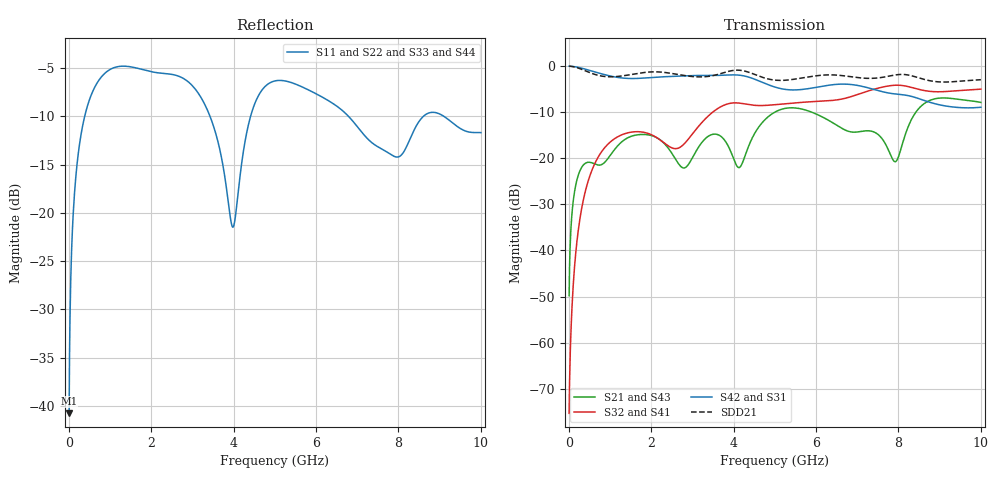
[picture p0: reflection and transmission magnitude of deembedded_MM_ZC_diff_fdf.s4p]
# GHz S MA R 50
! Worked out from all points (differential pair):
!   1000 points, 10 MHz to 10 GHz, reference 50 ohm
!   strongest paths, dB at 10 MHz, 2.51 GHz, 5.01 GHz, 7.51 GHz, 10 GHz:
!     S42: 0.0, -2.2, -4.6, -5.3, -8.9
!     S31: 0.0, -2.2, -4.6, -5.3, -8.9
!     S32: -75.3, -17.8, -8.4, -4.8, -5.0
!     S41: -75.3, -17.8, -8.4, -4.8, -5.0
!     S21: -49.8, -19.0, -9.9, -14.9, -7.9
!     S43: -49.8, -19.0, -9.9, -14.9, -7.9
!   taken as a pair (ports 2,1 in; 4,3 out), SDD21 dB: 0.0, -1.6, -3.0, -2.6, -2.9
!   lowest |S11| = -40.8 dB at 10 MHz (marker M1), VSWR 1.02, Z = 50 - j0.914 ohm
!   |S11| at or under -10 dB: 3.429 GHz to 4.412 GHz (983.8 MHz wide, 25.1 % of centre); 6.789 GHz to 8.604 GHz (1.816 GHz wide, 23.6 % of centre); 9.103 GHz to end of sweep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
0.01  0.009161 -92.6  0.003228 87.2  0.9995 -1.5  0.000171 60.5
      0.003228 87.2  0.009161 -92.6  0.000171 60.5  0.9995 -1.5
      0.9995 -1.5  0.000171 60.5  0.009161 -92.6  0.003228 87.2
      0.000171 60.5  0.9995 -1.5  0.003228 87.2  0.009161 -92.6
0.31  0.2627 -137.4  0.07919 44.5  0.9518 -47.1  0.02785 -67.5
      0.07919 44.5  0.2627 -137.4  0.02785 -67.5  0.9518 -47.1
      0.9518 -47.1  0.02785 -67.5  0.2627 -137.4  0.07919 44.5
      0.02785 -67.5  0.9518 -47.1  0.07919 44.5  0.2627 -137.4
1.09  0.5643 118.1  0.1208 30.1  0.7683 -151.9  0.1606 124.4
      0.1208 30.1  0.5643 118.1  0.1606 124.4  0.7683 -151.9
      0.7683 -151.9  0.1606 124.4  0.5643 118.1  0.1208 30.1
      0.1606 124.4  0.7683 -151.9  0.1208 30.1  0.5643 118.1
2.7  0.5073 -89.8  0.08332 -151.4  0.7801 0.9  0.1317 -94.8
     0.08332 -151.4  0.5073 -89.8  0.1317 -94.8  0.7801 0.9
     0.7801 0.9  0.1317 -94.8  0.5073 -89.8  0.08332 -151.4
     0.1317 -94.8  0.7801 0.9  0.08332 -151.4  0.5073 -89.8
3.98  0.08433 -170.5  0.1046 -84.5  0.8042 -177.3  0.3987 92.8
      0.1046 -84.5  0.08433 -170.5  0.3987 92.8  0.8042 -177.3
      0.8042 -177.3  0.3987 92.8  0.08433 -170.5  0.1046 -84.5
      0.3987 92.8  0.8042 -177.3  0.1046 -84.5  0.08433 -170.5
5.23  0.4834 97.7  0.3465 14.5  0.5613 11.4  0.3903 -82.0
      0.3465 14.5  0.4834 97.7  0.3903 -82.0  0.5613 11.4
      0.5613 11.4  0.3903 -82.0  0.4834 97.7  0.3465 14.5
      0.3903 -82.0  0.5613 11.4  0.3465 14.5  0.4834 97.7
10  0.2606 -21.0  0.404 -91.3  0.358 87.9  0.5631 -11.1
    0.404 -91.3  0.2606 -21.0  0.5631 -11.1  0.358 87.9
    0.358 87.9  0.5631 -11.1  0.2606 -21.0  0.404 -91.3
    0.5631 -11.1  0.358 87.9  0.404 -91.3  0.2606 -21.0
